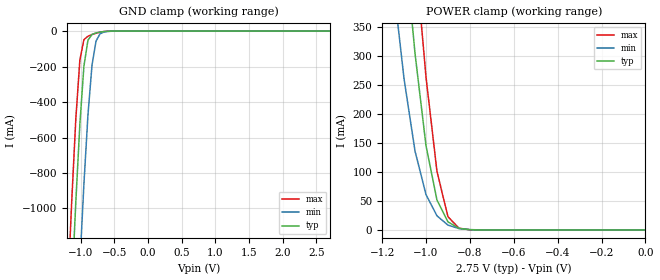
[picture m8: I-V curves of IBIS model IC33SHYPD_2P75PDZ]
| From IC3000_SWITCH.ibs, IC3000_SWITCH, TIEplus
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|   Model IC33SHYPD_2P75PDZ
[Model]   IC33SHYPD_2P75PDZ
Model_type   Input
Polarity   Non-Inverting
Vinl =   0.8200V
Vinh =   1.9300V
C_comp   1.6800pF   1.6800pF   1.6800pF
[Model Spec]
|   typ   min   max
Vinh   1.930V   1.750V   2.10V
Vinl   0.820V   0.750V   0.90V
[Temperature Range]   25.0000   0.1250k   -40.0000
[Voltage Range]   2.7500V   2.5000V   3.0000V
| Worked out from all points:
|   GND clamp passes 1 mA (typ) near -0.60 V on its own axis
|   POWER clamp passes 1 mA (typ) near -0.81 V on its own axis
| (Vdd votage range)   1.50V   1.35V   1.65V
| (Process strength)   nominal   weak   strong
[GND_clamp]
| voltage   I(typ)   I(min)   I(max)
-2.75V    -17.02A    -17.82A    -16.57A
-1.19V    -1.973A    -2.848A    -1.462A
-1.13V    -1.453A    -2.319A    -952.1mA
-1.07V    -961.9mA   -1.806A    -494.2mA
-1.01V    -524.5mA   -1.315A    -162.9mA
-950mV    -197.8mA   -862.4mA   -48.44mA
-890mV    -51.23mA   -472.9mA   -28.94mA
-830mV    -18.97mA   -192.8mA   -19.47mA
-770mV    -10.44mA   -56.14mA   -11.77mA
-710mV    -5.643mA   -15.3mA    -5.841mA
-650mV    -2.514mA   -5.085mA   -2.147mA
2.71V     150.7pA    2.537nA    132.4pA
[POWER_clamp]
| voltage   I(typ)   I(min)   I(max)
-2.75V    9.52A      8.729A     10.16A
-1.15V    732.8mA    427.8mA    979.7mA
-1.1V     506.2mA    260.6mA    722.8mA
-1.05V    304.3mA    136mA      480.1mA
-1V       145.5mA    61.04mA    263.8mA
-950mV    51.56mA    24.44mA    101mA
-900mV    14.01mA    8.383mA    22.94mA
-850mV    2.793mA    2.36mA     3.142mA
-800mV    442.5uA    587.5uA    300.2uA
-750mV    66.2uA     140.7uA    26.86uA
0V        154.4pA    2.344nA    149.6pA
